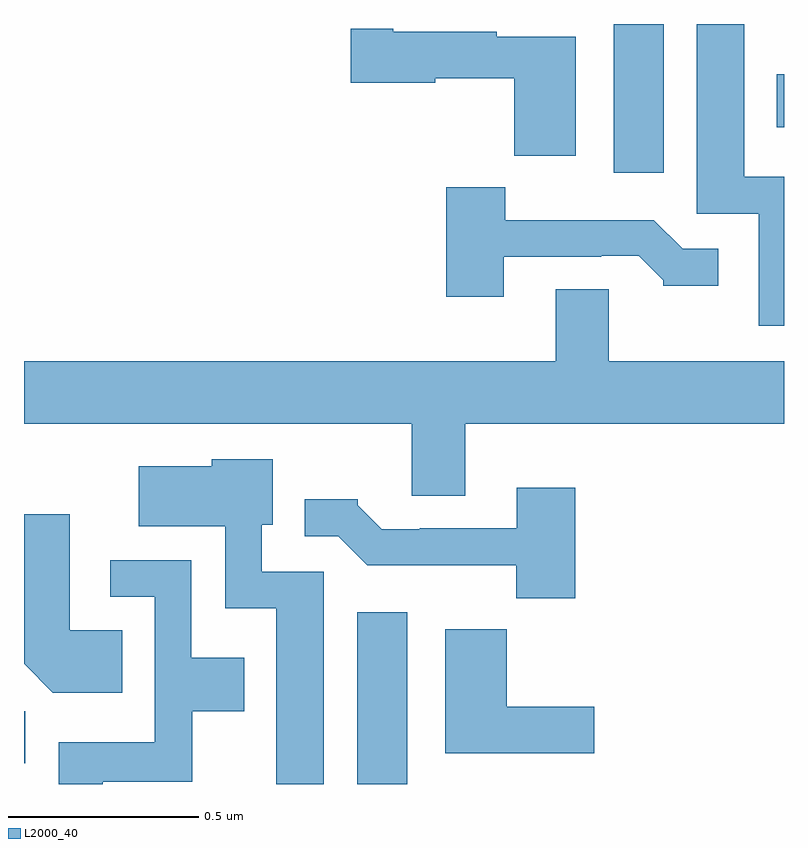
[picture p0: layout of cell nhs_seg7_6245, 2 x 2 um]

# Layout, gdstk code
import gdstk
lib = gdstk.Library(unit=1e-6, precision=1e-09)
def R(c, l, rs):  # rectangles x0, y0, x1, y1
    for r in rs: c.add(gdstk.rectangle(r[:2], r[2:], *l))
def P(c, l, *ps):  # polygons
    for p in ps: c.add(gdstk.Polygon(p, *l))
L2000_40 = (2000, 40)

nhs_seg7_6245 = lib.new_cell('nhs_seg7_6245')
R(nhs_seg7_6245, L2000_40, [(196.877,1001,197.008,1001.452), (196,1001.054,196.003,1001.192), (197.552,1002.609,197.683,1003), (197.981,1002.728,198,1002.868)])
P(nhs_seg7_6245, L2000_40, [(198,1002.598),(197.896,1002.598),(197.896,1003),(197.771,1003),(197.771,1002.501),(197.934,1002.501),(197.934,1002.206),(198,1002.206)],
  [(197.452,1002.967),(197.244,1002.967),(197.244,1002.979),(196.972,1002.979),(196.972,1002.987),(196.86,1002.987),(196.86,1002.845),(197.082,1002.845),(197.082,1002.857),(197.29,1002.857),(197.29,1002.653),(197.452,1002.653)],
  [(197.263,1002.387),(197.519,1002.387),(197.519,1002.39),(197.618,1002.39),(197.682,1002.326),(197.682,1002.311),(197.827,1002.311),(197.827,1002.408),(197.733,1002.408),(197.657,1002.484),(197.266,1002.484),(197.266,1002.571),(197.111,1002.571),(197.111,1002.282),(197.263,1002.282)],
  [(197.161,1001.948),(198,1001.948),(198,1002.112),(197.539,1002.112),(197.539,1002.302),(197.399,1002.302),(197.399,1002.112),(196,1002.112),(196,1001.948),(197.021,1001.948),(197.021,1001.758),(197.161,1001.758)],
  [(196.789,1001.559),(196.626,1001.559),(196.626,1001.682),(196.654,1001.682),(196.654,1001.854),(196.494,1001.854),(196.494,1001.836),(196.302,1001.836),(196.302,1001.678),(196.53,1001.678),(196.53,1001.462),(196.664,1001.462),(196.664,1001),(196.789,1001)],
  [(197.45,1001.779),(197.297,1001.779),(197.297,1001.673),(197.041,1001.673),(197.041,1001.67),(196.942,1001.67),(196.878,1001.734),(196.878,1001.749),(196.739,1001.749),(196.739,1001.652),(196.827,1001.652),(196.903,1001.576),(197.295,1001.576),(197.295,1001.489),(197.45,1001.489)],
  [(196.259,1001.404),(196.12,1001.404),(196.12,1001.71),(196,1001.71),(196,1001.316),(196.076,1001.24),(196.259,1001.24)],
  [(196.207,1001.006),(196.443,1001.006),(196.443,1001.192),(196.579,1001.192),(196.579,1001.332),(196.44,1001.332),(196.44,1001.589),(196.227,1001.589),(196.227,1001.493),(196.344,1001.493),(196.344,1001.11),(196.091,1001.11),(196.091,1001),(196.207,1001)],
  [(197.5,1001.203),(197.27,1001.203),(197.27,1001.407),(197.108,1001.407),(197.108,1001.081),(197.5,1001.081)])

lib.write_gds('nhs_seg7_6245.gds')
